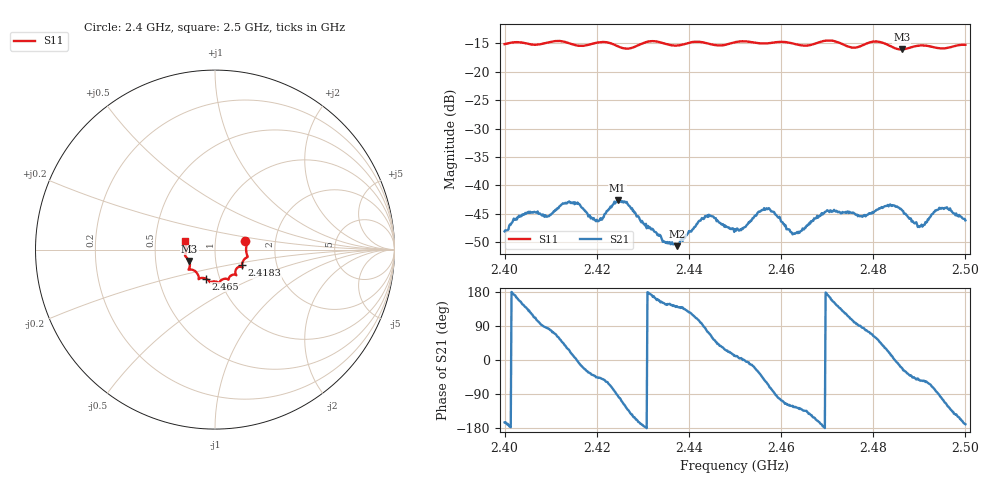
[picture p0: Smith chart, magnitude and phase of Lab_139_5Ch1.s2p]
# Hz S RI R 50
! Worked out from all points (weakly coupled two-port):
!   601 points, 2.4 GHz to 2.5 GHz, reference 50 ohm
!   highest |S21| = -42.63 dB at 2.4245 GHz (marker M1); lowest = -50.7 dB at 2.4375 GHz (marker M2)
!   lowest |S11| = -16.1 dB at 2.4862 GHz (marker M3), VSWR 1.37, Z = 37.2 - j4.83 ohm
!   |S11| at or under -10 dB: start of sweep to end of sweep
!   S12 and S22 are empty: the file has one direction only
!   S11 on the Smith chart (normalised r, x): 2.4 GHz: 1.40, +0.14; 2.4183 GHz: 1.33, -0.24; 2.465 GHz: 0.86, -0.29; 2.5 GHz: 0.71, +0.07
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2.4e9  0.1688 0.047  -0.0038 -0.00104  0 0  0 0
2.405e9  0.1754 0.0191  -0.004 0.00413  0 0  0 0
2.416667e9  0.1546 -0.0683  0.0062 -0.00171  0 0  0 0
2.418333e9  0.1499 -0.0868  0.00455 -0.003  0 0  0 0
2.420667e9  0.1523 -0.0994  0.0034 -0.00366  0 0  0 0
2.4245e9  0.1389 -0.095  -0.000326 -0.00738  0 0  0 0
2.4265e9  0.1216 -0.1038  -0.00439 -0.00565  0 0  0 0
2.433333e9  0.1174 -0.1408  -0.00343 0.0014  0 0  0 0
2.4375e9  0.0866 -0.1464  -0.00227 0.00184  0 0  0 0
2.444e9  0.0685 -0.164  0.00144 0.00526  0 0  0 0
2.45e9  0.0261 -0.1803  0.00402 0.000801  0 0  0 0
2.456833e9  -0.00794 -0.1774  0.00326 -0.00539  0 0  0 0
2.4625e9  -0.0331 -0.1746  -0.00191 -0.00317  0 0  0 0
2.465e9  -0.0526 -0.1617  -0.00285 -0.00296  0 0  0 0
2.466667e9  -0.0714 -0.1578  -0.004 -0.00268  0 0  0 0
2.470167e9  -0.0913 -0.1649  -0.00589 0.00095  0 0  0 0
2.478e9  -0.1329 -0.1113  0.000594 0.00538  0 0  0 0
2.483333e9  -0.1413 -0.0968  0.0061 0.00237  0 0  0 0
2.486167e9  -0.1438 -0.0633  0.00573 -0.00212  0 0  0 0
2.490167e9  -0.1661 -0.0368  0.00253 -0.00353  0 0  0 0
2.494667e9  -0.1605 -0.000946  -0.000808 -0.00617  0 0  0 0
2.5e9  -0.1666 0.0466  -0.00485 -0.000902  0 0  0 0
